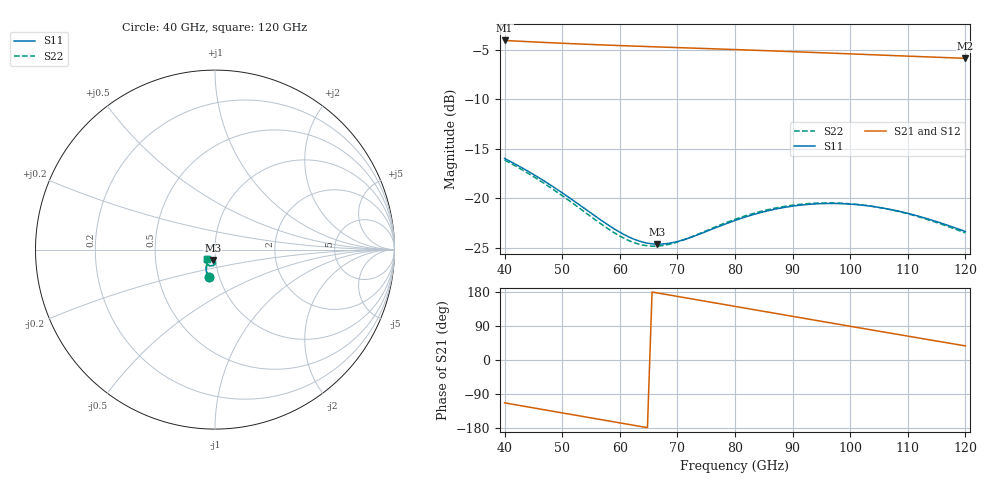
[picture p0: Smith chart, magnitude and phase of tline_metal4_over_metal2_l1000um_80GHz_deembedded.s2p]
! Created with skrf 2.2.0 (http://scikit-rf.org).
# GHz S DB R 50.0
! Port[1] = P1
! Port[2] = P2
!freq dBS11 angS11 dBS21 angS21 dBS12 angS12 dBS22 angS22
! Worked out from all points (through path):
!   101 points, 40 GHz to 120 GHz, reference 50 ohm
!   highest |S21| = -4.06 dB at 40 GHz (marker M1); lowest = -5.9 dB at 120 GHz (marker M2)
!   group delay of S21, straight-line fit = 7.29 ps
!   lowest |S11| = -24.6 dB at 66.4 GHz (marker M3), VSWR 1.12, Z = 48.4 - j5.58 ohm
!   |S11| at or under -10 dB: start of sweep to end of sweep
!   |S22| runs from -24.8 to -16.1 dB; largest |S21 - S12| = 9.1e-14
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40  -15.97 -102.7  -4.06 -113.1  -4.06 -113.1  -16.13 -102.4
43.2  -16.97 -108.4  -4.15 -121.6  -4.15 -121.6  -17.16 -108.0
47.2  -18.36 -114.3  -4.27 -132.2  -4.27 -132.2  -18.61 -113.7
53.6  -20.90 -119.2  -4.43 -149.1  -4.43 -149.1  -21.24 -118.0
57.6  -22.53 -118.0  -4.52 -159.6  -4.52 -159.6  -22.92 -116.0
60.8  -23.66 -114.0  -4.59 -168.0  -4.59 -168.0  -24.04 -111.3
64  -24.41 -107.8  -4.66 -176.4  -4.66 -176.4  -24.71 -104.3
66.4  -24.61 -102.5  -4.71 177.3  -4.71 177.3  -24.81 -98.6
67.2  -24.60 -100.8  -4.72 175.2  -4.72 175.2  -24.77 -96.8
70.4  -24.28 -94.9  -4.79 166.8  -4.79 166.8  -24.32 -91.1
73.6  -23.65 -91.4  -4.85 158.4  -4.85 158.4  -23.60 -88.0
80  -22.23 -91.1  -4.98 141.5  -4.98 141.5  -22.11 -88.6
84  -21.50 -94.1  -5.06 131.0  -5.06 131.0  -21.38 -92.1
87.2  -21.05 -97.6  -5.13 122.6  -5.13 122.6  -20.95 -95.8
90.4  -20.74 -101.6  -5.20 114.2  -5.20 114.2  -20.65 -100.0
93.6  -20.56 -105.9  -5.27 105.8  -5.27 105.8  -20.49 -104.5
96.8  -20.51 -110.4  -5.34 97.4  -5.34 97.4  -20.45 -109.1
100  -20.57 -114.8  -5.41 89.0  -5.41 89.0  -20.54 -113.7
103.2  -20.75 -119.1  -5.48 80.7  -5.48 80.7  -20.74 -118.1
107.2  -21.14 -124.0  -5.58 70.3  -5.58 70.3  -21.16 -123.2
113.6  -22.09 -130.3  -5.72 53.7  -5.72 53.7  -22.16 -129.5
120  -23.34 -133.0  -5.86 37.2  -5.86 37.2  -23.48 -132.3
